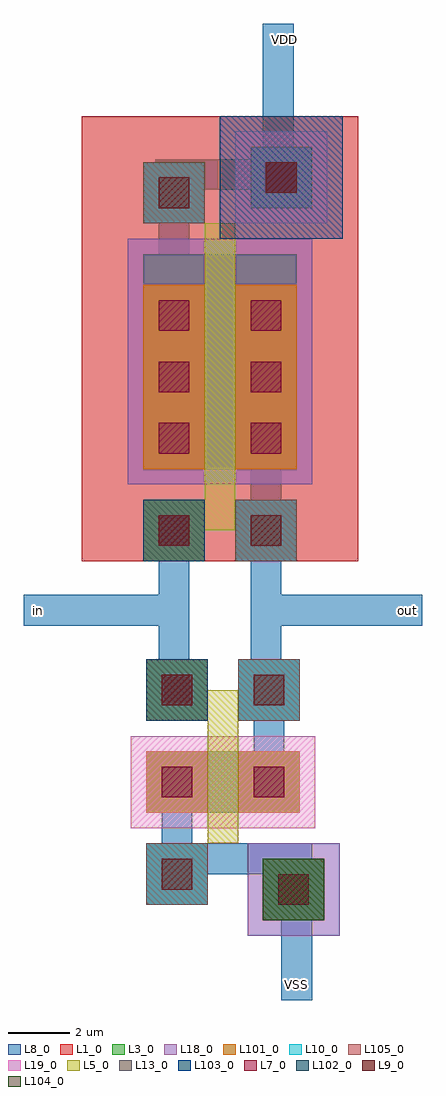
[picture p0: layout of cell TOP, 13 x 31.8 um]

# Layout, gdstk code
import gdstk
lib = gdstk.Library(unit=1e-6, precision=1e-07)
def R(c, l, rs):  # rectangles x0, y0, x1, y1
    for r in rs: c.add(gdstk.rectangle(r[:2], r[2:], *l))
L1_0 = (1, 0)
L3_0 = (3, 0)
L5_0 = (5, 0)
L7_0 = (7, 0)
L8_0 = (8, 0)
L9_0 = (9, 0)
L10_0 = (10, 0)
L13_0 = (13, 0)
L18_0 = (18, 0)
L19_0 = (19, 0)
L101_0 = (101, 0)
L102_0 = (102, 0)
L103_0 = (103, 0)
L104_0 = (104, 0)
L105_0 = (105, 0)

dcont = lib.new_cell('dcont')
R(dcont, L3_0, [(-1,-1,1,1)])
R(dcont, L7_0, [(-0.5,-0.5,0.5,0.5)])
R(dcont, L8_0, [(-1,-1,1,1)])
R(dcont, L13_0, [(-0.5,-0.5,0.5,0.5)])
R(dcont, L101_0, [(-1,-1,1,1)])

pcont = lib.new_cell('pcont')
R(pcont, L5_0, [(-1,-1,1,1)])
R(pcont, L7_0, [(-0.5,-0.5,0.5,0.5)])
R(pcont, L8_0, [(-1,-1,1,1)])
R(pcont, L13_0, [(-0.5,-0.5,0.5,0.5)])
R(pcont, L102_0, [(-1,-1,1,1)])

via = lib.new_cell('Via')
R(via, L8_0, [(-1,-1,1,1)])
R(via, L9_0, [(-0.5,-0.5,0.5,0.5)])
R(via, L10_0, [(-1,-1,1,1)])
R(via, L13_0, [(-0.5,-0.5,0.5,0.5)])
R(via, L105_0, [(-1,-1,1,1)])

dcont1 = lib.new_cell('dcont1')
R(dcont1, L3_0, [(-1,-1,1,1)])
R(dcont1, L7_0, [(-0.5,-0.5,0.5,0.5)])
R(dcont1, L8_0, [(-1,-1,1,1)])
R(dcont1, L13_0, [(-0.5,-0.5,0.5,0.5)])
R(dcont1, L101_0, [(-1,-1,1,1)])

nsubcont = lib.new_cell('nsubcont')
R(nsubcont, L1_0, [(-2,-2,2,2)])
R(nsubcont, L19_0, [(-1.5,-1.5,1.5,1.5)])
R(nsubcont, L103_0, [(-2,-2,2,2)])
nsubcont.add(gdstk.Reference(dcont1, (0,0)))

pch = lib.new_cell('Pch')
R(pch, L1_0, [(-2,0,7,14.5)])
R(pch, L3_0, [(0,3,5,10)])
R(pch, L18_0, [(-0.5,2.5,5.5,10.5)])
pch.add(gdstk.FlexPath([(2.5,3),(2.5,10)], 1, ends=(1, 1), simple_path=True, layer=5, datatype=0))  # L5_0
pch.add(gdstk.FlexPath([(1,1.5),(2.5,1.5),(2.5,2)], 1, ends="flush", simple_path=True, layer=5, datatype=0))  # L5_0
pch.add(gdstk.FlexPath([(1,3),(1,10)], 2, ends="flush", simple_path=True, layer=8, datatype=0))  # L8_0
pch.add(gdstk.FlexPath([(4,3),(4,10)], 2, ends="flush", simple_path=True, layer=8, datatype=0))  # L8_0
pch.add(gdstk.FlexPath([(1,9),(1,12)], 1, ends="flush", simple_path=True, layer=8, datatype=0))  # L8_0
pch.add(gdstk.FlexPath([(4,1),(4,4)], 1, ends="flush", simple_path=True, layer=8, datatype=0))  # L8_0
pch.add(gdstk.Reference(dcont, (1,4)))
pch.add(gdstk.Reference(dcont, (1,6)))
pch.add(gdstk.Reference(dcont, (1,8)))
pch.add(gdstk.Reference(dcont, (4,4)))
pch.add(gdstk.Reference(dcont, (4,6)))
pch.add(gdstk.Reference(dcont, (4,8)))
pch.add(gdstk.Reference(pcont, (1,1)))
pch.add(gdstk.Reference(via, (1,1)))
pch.add(gdstk.Reference(via, (1,12)))
pch.add(gdstk.Reference(via, (4,1)))
pch.add(gdstk.Reference(nsubcont, (4.5,12.5)))
pch.add(gdstk.Reference(via, (4.5,12.5)))

psubcont = lib.new_cell('psubcont')
R(psubcont, L18_0, [(-1.5,-1.5,1.5,1.5)])
R(psubcont, L104_0, [(-1,-1,1,1)])
psubcont.add(gdstk.Reference(dcont1, (0,0)))

nch_1 = lib.new_cell('Nch$1')
R(nch_1, L3_0, [(0,3,5,5)])
R(nch_1, L19_0, [(-0.5,2.5,5.5,5.5)])
nch_1.add(gdstk.FlexPath([(2.5,3),(2.5,5)], 1, ends=(1, 1), simple_path=True, layer=5, datatype=0))  # L5_0
nch_1.add(gdstk.FlexPath([(1,6.5),(2.5,6.5),(2.5,6)], 1, ends="flush", simple_path=True, layer=5, datatype=0))  # L5_0
nch_1.add(gdstk.FlexPath([(1,3),(1,5)], 2, ends="flush", simple_path=True, layer=8, datatype=0))  # L8_0
nch_1.add(gdstk.FlexPath([(4,3),(4,5)], 2, ends="flush", simple_path=True, layer=8, datatype=0))  # L8_0
nch_1.add(gdstk.FlexPath([(1,1),(1,4)], 1, ends="flush", simple_path=True, layer=8, datatype=0))  # L8_0
nch_1.add(gdstk.FlexPath([(4,4),(4,7)], 1, ends="flush", simple_path=True, layer=8, datatype=0))  # L8_0
nch_1.add(gdstk.Reference(dcont, (1,4)))
nch_1.add(gdstk.Reference(dcont, (4,4)))
nch_1.add(gdstk.Reference(pcont, (1,7)))
nch_1.add(gdstk.Reference(via, (1,7)))
nch_1.add(gdstk.Reference(via, (1,1)))
nch_1.add(gdstk.Reference(via, (4,7)))
nch_1.add(gdstk.Reference(psubcont, (4.8,0.5)))
nch_1.add(gdstk.Reference(via, (4.8,0.5)))

top = lib.new_cell('TOP')
top.add(gdstk.FlexPath([(1.9,1.2),(1.9,-4.2),(1.9,-4.2)], 1, ends="flush", simple_path=True, layer=8, datatype=0))  # L8_0
top.add(gdstk.FlexPath([(-6,-1.5),(-1.1,-1.5)], 1, ends="flush", simple_path=True, layer=8, datatype=0))  # L8_0
top.add(gdstk.FlexPath([(-1.1,1.1),(-1.1,-4.1)], 1, ends="flush", simple_path=True, layer=8, datatype=0))  # L8_0
top.add(gdstk.FlexPath([(1.9,-1.5),(7,-1.5)], 1, ends="flush", simple_path=True, layer=8, datatype=0))  # L8_0
top.add(gdstk.FlexPath([(-1,-9.6),(2.9,-9.6),(2.9,-14.2),(2.9,-14.2)], 1, ends="flush", simple_path=True, layer=8, datatype=0))  # L8_0
top.add(gdstk.FlexPath([(-1.2,12),(-1.2,12.7),(2.3,12.7),(2.3,17.6)], 1, ends="flush", simple_path=True, layer=8, datatype=0))  # L8_0
top.add(gdstk.Reference(pch, (-2.1,0.1)))
top.add(gdstk.Reference(nch_1, (-2,-11.1)))
top.add(gdstk.Label('VDD', (2.5,17.1), layer=8, texttype=0))
top.add(gdstk.Label('out', (6.5,-1.5), layer=8, texttype=0))
top.add(gdstk.Label('in', (-5.5,-1.5), layer=8, texttype=0))
top.add(gdstk.Label('VSS', (2.9,-13.7), layer=8, texttype=0))

lib.write_gds('TOP.gds')
